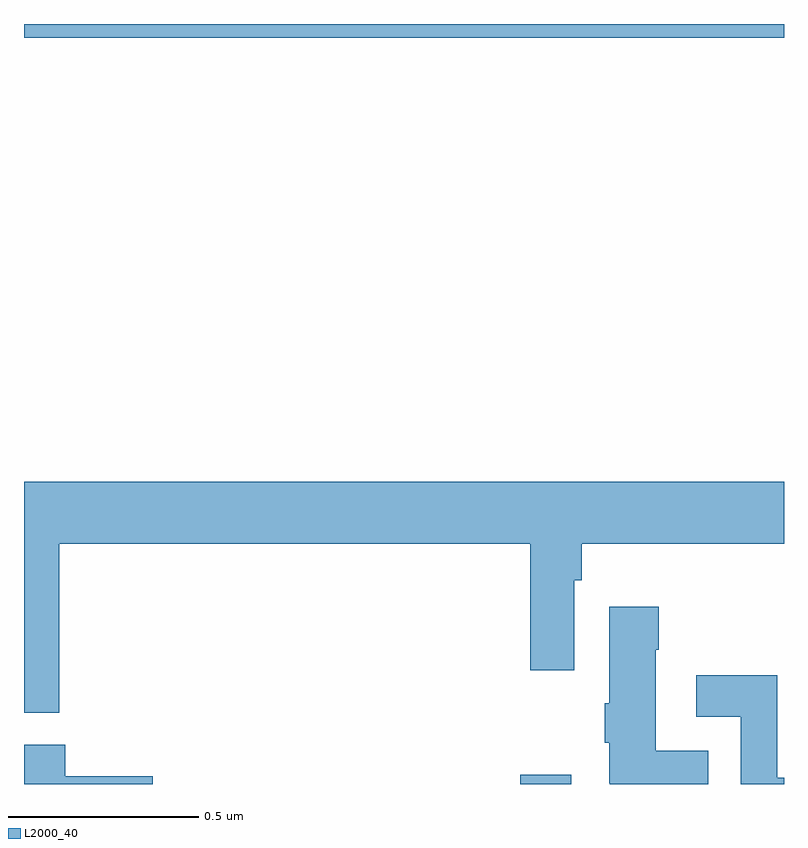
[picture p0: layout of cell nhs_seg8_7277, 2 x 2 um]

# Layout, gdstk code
import gdstk
lib = gdstk.Library(unit=1e-6, precision=1e-09)
def R(c, l, rs):  # rectangles x0, y0, x1, y1
    for r in rs: c.add(gdstk.rectangle(r[:2], r[2:], *l))
def P(c, l, *ps):  # polygons
    for p in ps: c.add(gdstk.Polygon(p, *l))
L2000_40 = (2000, 40)

nhs_seg8_7277 = lib.new_cell('nhs_seg8_7277')
R(nhs_seg8_7277, L2000_40, [(209.306,1083.9,209.44,1083.925), (208,1085.864,210,1085.9)])
P(nhs_seg8_7277, L2000_40, [(208.093,1084.532),(209.332,1084.532),(209.332,1084.2),(209.448,1084.2),(209.448,1084.436),(209.468,1084.436),(209.468,1084.532),(210,1084.532),(210,1084.696),(208,1084.696),(208,1084.088),(208.093,1084.088)],
  [(209.801,1083.988),(209.662,1083.988),(209.662,1084.253),(209.67,1084.253),(209.67,1084.366),(209.54,1084.366),(209.54,1084.112),(209.528,1084.112),(209.528,1084.009),(209.54,1084.009),(209.54,1083.902),(209.542,1083.9),(209.801,1083.9)],
  [(210,1083.916),(209.982,1083.916),(209.982,1084.186),(209.769,1084.186),(209.769,1084.077),(209.886,1084.077),(209.886,1083.9),(210,1083.9)],
  [(208.339,1083.92),(208.108,1083.92),(208.108,1084.003),(208,1084.003),(208,1083.9),(208.339,1083.9)])

lib.write_gds('nhs_seg8_7277.gds')
